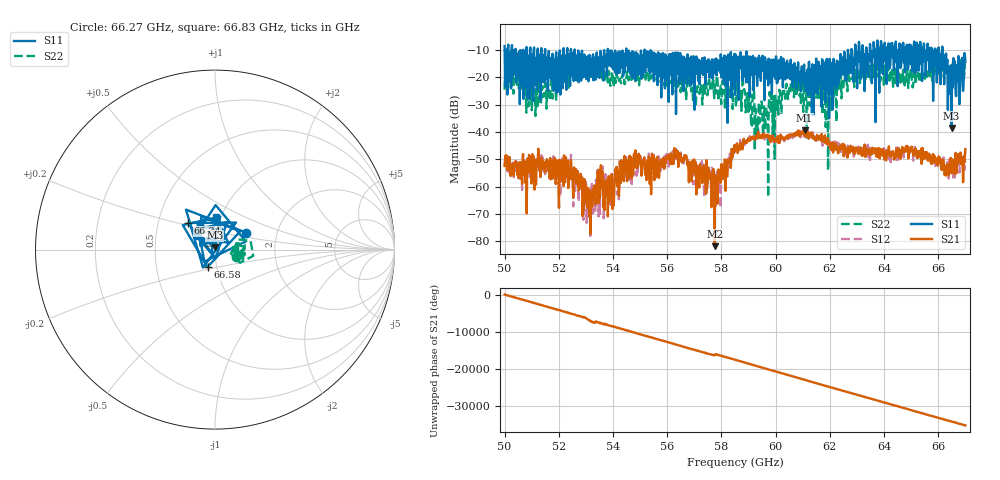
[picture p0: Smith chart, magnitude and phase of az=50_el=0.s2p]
!Created with skrf (http://scikit-rf.org).
# GHz S RI R 50.0
!freq ReS11 ImS11 ReS21 ImS21 ReS12 ImS12 ReS22 ImS22
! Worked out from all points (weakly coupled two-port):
!   1001 points, 50 GHz to 67 GHz, reference 50 ohm
!   highest |S21| = -39.33 dB at 61.07 GHz (marker M1); lowest = -81.9 dB at 57.75 GHz (marker M2)
!   lowest |S11| = -38.5 dB at 66.49 GHz (marker M3), VSWR 1.02, Z = 49.8 + j1.17 ohm
!   |S11| at or under -10 dB: 52.58 GHz to 53.67 GHz (1.087 GHz wide, 2.05 % of centre); 55.17 GHz to 62.66 GHz (7.496 GHz wide, 12.7 % of centre); 66.16 GHz to end of sweep (the widest 3 of 59)
!   |S22| runs from -63.9 to -13.3 dB; largest |S21 - S12| = 0.0026
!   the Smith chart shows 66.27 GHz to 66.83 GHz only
!   S11 on the Smith chart (normalised r, x): 66.27 GHz: 1.39, +0.27; 66.34 GHz: 0.71, +0.22; 66.58 GHz: 0.90, -0.18; 66.83 GHz: 0.94, +0.36
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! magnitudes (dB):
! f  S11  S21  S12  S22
! 50 GHz  -8.5  -52.5  -52.7  -24.5
! 51.14 GHz  -13.6  -51.8  -51.0  -34.1
! 52.84 GHz  -12.6  -60.3  -61.9  -19.9
! 53.11 GHz  -13.5  -63.3  -68.2  -18.9
! 54.4 GHz  -12.1  -58.0  -58.9  -19.4
! 55.68 GHz  -13.7  -51.2  -48.9  -21.6
! 56.34 GHz  -12.0  -49.3  -50.0  -22.5
! 57.75 GHz  -13.4  -81.9  -58.0  -23.3
! 58.5 GHz  -26.3  -46.8  -47.8  -24.1
! 59.32 GHz  -23.1  -41.6  -41.1  -36.8
! 60.34 GHz  -14.7  -42.2  -42.8  -25.7
! 61.07 GHz  -23.1  -39.3  -39.8  -21.2
! 61.34 GHz  -33.7  -41.3  -42.7  -24.9
! 61.88 GHz  -18.7  -43.4  -43.3  -23.1
! 62.61 GHz  -16.1  -47.6  -47.1  -20.1
! 64.18 GHz  -12.1  -45.3  -47.6  -17.4
! 66.27 GHz  -14.1  -54.4  -55.5  -18.0
! 66.34 GHz  -13.5  -52.3  -51.0  -17.2
! 66.49 GHz  -38.5  -55.2  -52.7  -15.5
! 66.58 GHz  -19.5  -51.0  -52.7  -15.5
! 66.83 GHz  -14.8  -47.6  -48.4  -19.2
! 67 GHz  -14.1  -46.3  -47.0  -14.3
